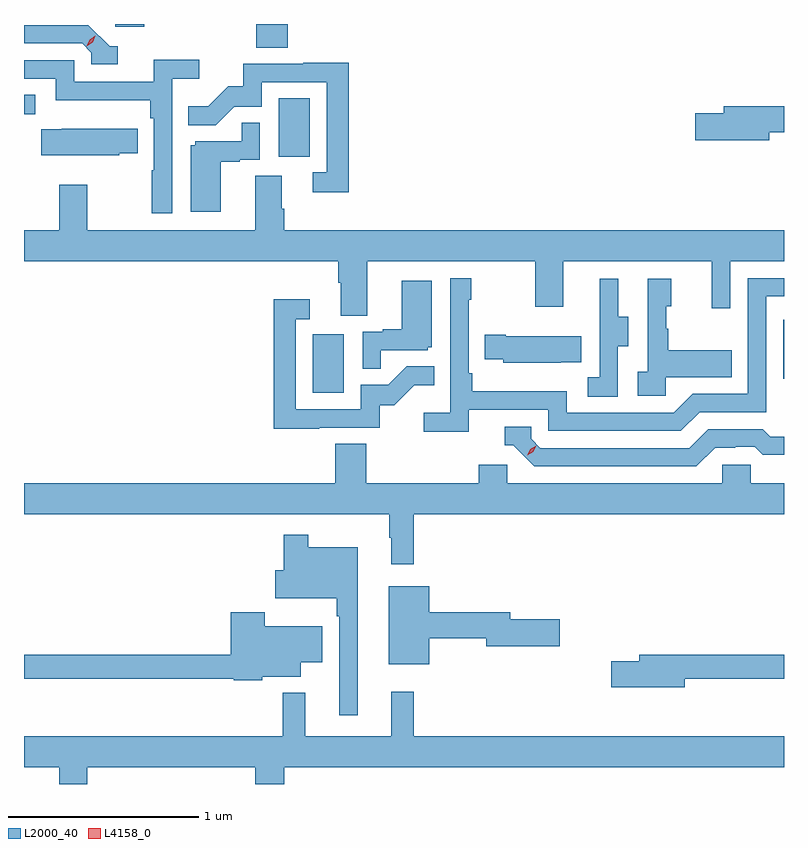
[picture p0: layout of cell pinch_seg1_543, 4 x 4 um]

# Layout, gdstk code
import gdstk
lib = gdstk.Library(unit=1e-6, precision=1e-09)
def R(c, l, rs):  # rectangles x0, y0, x1, y1
    for r in rs: c.add(gdstk.rectangle(r[:2], r[2:], *l))
def P(c, l, *ps):  # polygons
    for p in ps: c.add(gdstk.Polygon(p, *l))
L2000_40 = (2000, 40)
L4158_0 = (4158, 0)

pinch_seg1_543 = lib.new_cell('pinch_seg1_543')
R(pinch_seg1_543, L2000_40, [(1060.424,533.724,1060.588,534.031), (1062.9,533.799,1062.904,534.108), (1060.244,534.966,1060.408,535.273), (1058.904,535.189,1058.962,535.292), (1060.127,535.54,1060.292,535.665), (1059.384,535.65,1059.536,535.665)])
P(pinch_seg1_543, L2000_40, [(1059.397,535.548),(1059.354,535.548),(1059.243,535.659),(1058.904,535.659),(1058.904,535.563),(1059.21,535.563),(1059.258,535.515),(1059.258,535.452),(1059.397,535.452)],
  [(1059.684,535.376),(1059.826,535.376),(1059.826,535.478),(1059.587,535.478),(1059.587,535.362),(1059.168,535.362),(1059.168,535.473),(1058.904,535.473),(1058.904,535.377),(1059.072,535.377),(1059.072,535.265),(1059.568,535.265),(1059.568,535.169),(1059.588,535.169),(1059.588,534.896),(1059.576,534.896),(1059.576,534.669),(1059.684,534.669)],
  [(1060.613,535.46),(1060.375,535.46),(1060.375,535.455),(1060.057,535.455),(1060.057,535.338),(1059.98,535.338),(1059.873,535.231),(1059.769,535.231),(1059.769,535.132),(1059.913,535.132),(1060.011,535.23),(1060.155,535.23),(1060.155,535.359),(1060.497,535.359),(1060.497,534.885),(1060.425,534.885),(1060.425,534.78),(1060.613,534.78)],
  [(1062.826,535.096),(1062.904,535.096),(1062.904,535.232),(1062.587,535.232),(1062.587,535.196),(1062.438,535.196),(1062.438,535.054),(1062.826,535.054)],
  [(1059.94,534.939),(1060.04,534.939),(1060.04,534.951),(1060.146,534.951),(1060.146,535.145),(1060.051,535.145),(1060.051,535.047),(1059.804,535.047),(1059.804,535.026),(1059.782,535.026),(1059.782,534.678),(1059.94,534.678)],
  [(1059.405,534.985),(1059.503,534.985),(1059.503,535.114),(1059.103,535.114),(1059.103,535.111),(1058.995,535.111),(1058.995,534.974),(1059.405,534.974)],
  [(1060.711,534.416),(1061.596,534.416),(1061.596,534.177),(1061.743,534.177),(1061.743,534.416),(1062.524,534.416),(1062.524,534.168),(1062.621,534.168),(1062.621,534.416),(1062.904,534.416),(1062.904,534.58),(1060.274,534.58),(1060.274,534.692),(1060.261,534.692),(1060.261,534.866),(1060.121,534.866),(1060.121,534.58),(1059.237,534.58),(1059.237,534.82),(1059.089,534.82),(1059.089,534.58),(1058.904,534.58),(1058.904,534.416),(1060.559,534.416),(1060.559,534.304),(1060.571,534.304),(1060.571,534.13),(1060.711,534.13)],
  [(1061.246,533.634),(1061.664,533.634),(1061.664,533.523),(1062.361,533.523),(1062.46,533.622),(1062.81,533.622),(1062.81,534.231),(1062.904,534.231),(1062.904,534.327),(1062.714,534.327),(1062.714,533.718),(1062.423,533.718),(1062.324,533.619),(1061.76,533.619),(1061.76,533.731),(1061.264,533.731),(1061.264,533.827),(1061.244,533.827),(1061.244,534.215),(1061.257,534.215),(1061.257,534.328),(1061.148,534.328),(1061.148,533.62),(1061.007,533.62),(1061.007,533.518),(1061.246,533.518)],
  [(1062.282,533.807),(1062.629,533.807),(1062.629,533.947),(1062.295,533.947),(1062.295,534.062),(1062.285,534.062),(1062.285,534.18),(1062.31,534.18),(1062.31,534.325),(1062.186,534.325),(1062.186,533.834),(1062.135,533.834),(1062.135,533.709),(1062.282,533.709)],
  [(1062.03,533.968),(1062.085,533.968),(1062.085,534.123),(1062.031,534.123),(1062.031,534.325),(1061.933,534.325),(1061.933,534.111),(1061.934,534.111),(1061.934,533.807),(1061.871,533.807),(1061.871,533.704),(1062.03,533.704)],
  [(1060.781,533.949),(1061.028,533.949),(1061.028,533.964),(1061.05,533.964),(1061.05,534.313),(1060.892,534.313),(1060.892,534.058),(1060.793,534.058),(1060.793,534.045),(1060.686,534.045),(1060.686,533.851),(1060.781,533.851)],
  [(1060.457,533.541),(1060.776,533.541),(1060.776,533.658),(1060.852,533.658),(1060.959,533.765),(1061.063,533.765),(1061.063,533.864),(1060.919,533.864),(1060.821,533.766),(1060.677,533.766),(1060.677,533.637),(1060.335,533.637),(1060.335,534.111),(1060.408,534.111),(1060.408,534.217),(1060.219,534.217),(1060.219,533.536),(1060.457,533.536)],
  [(1061.729,533.885),(1061.837,533.885),(1061.837,534.022),(1061.44,534.022),(1061.44,534.03),(1061.329,534.03),(1061.329,533.9),(1061.427,533.9),(1061.427,533.882),(1061.729,533.882)],
  [(1062.541,533.436),(1062.648,533.436),(1062.648,533.439),(1062.751,533.439),(1062.793,533.397),(1062.904,533.397),(1062.904,533.493),(1062.832,533.493),(1062.793,533.532),(1062.504,533.532),(1062.405,533.433),(1061.622,533.433),(1061.574,533.481),(1061.574,533.544),(1061.435,533.544),(1061.435,533.448),(1061.478,533.448),(1061.589,533.337),(1062.442,533.337)],
  [(1060.955,533.084),(1062.904,533.084),(1062.904,533.248),(1062.729,533.248),(1062.729,533.346),(1062.579,533.346),(1062.579,533.248),(1061.448,533.248),(1061.448,533.346),(1061.297,533.346),(1061.297,533.248),(1060.706,533.248),(1060.706,533.456),(1060.541,533.456),(1060.541,533.248),(1058.904,533.248),(1058.904,533.084),(1060.827,533.084),(1060.827,532.961),(1060.838,532.961),(1060.838,532.821),(1060.955,532.821)],
  [(1060.66,532.912),(1060.399,532.912),(1060.399,532.978),(1060.27,532.978),(1060.27,532.791),(1060.226,532.791),(1060.226,532.643),(1060.551,532.643),(1060.551,532.547),(1060.563,532.547),(1060.563,532.026),(1060.66,532.026)],
  [(1061.038,532.432),(1061.336,532.432),(1061.336,532.39),(1061.725,532.39),(1061.725,532.532),(1061.464,532.532),(1061.464,532.568),(1061.038,532.568),(1061.038,532.705),(1060.823,532.705),(1060.823,532.295),(1061.038,532.295)],
  [(1060.158,532.229),(1060.36,532.229),(1060.36,532.307),(1060.474,532.307),(1060.474,532.495),(1060.17,532.495),(1060.17,532.57),(1059.992,532.57),(1059.992,532.346),(1058.904,532.346),(1058.904,532.218),(1060.008,532.218),(1060.008,532.21),(1060.158,532.21)],
  [(1062.382,532.218),(1062.904,532.218),(1062.904,532.346),(1062.143,532.346),(1062.143,532.31),(1061.994,532.31),(1061.994,532.175),(1062.382,532.175)],
  [(1059.237,531.752),(1060.121,531.752),(1060.121,531.665),(1060.274,531.665),(1060.274,531.752),(1062.904,531.752),(1062.904,531.916),(1060.955,531.916),(1060.955,532.15),(1060.838,532.15),(1060.838,531.916),(1060.385,531.916),(1060.385,532.144),(1060.267,532.144),(1060.267,531.916),(1058.904,531.916),(1058.904,531.752),(1059.089,531.752),(1059.089,531.665),(1059.237,531.665)])
P(pinch_seg1_543, L4158_0, [(1059.234,535.549),(1059.234,535.549),(1059.25,535.582),(1059.28,535.602),(1059.28,535.602),(1059.28,535.602),(1059.265,535.569),(1059.235,535.549)],
  [(1061.552,533.394),(1061.552,533.394),(1061.568,533.427),(1061.599,533.446),(1061.599,533.446),(1061.599,533.446),(1061.583,533.413),(1061.552,533.394)])

lib.write_gds('pinch_seg1_543.gds')
